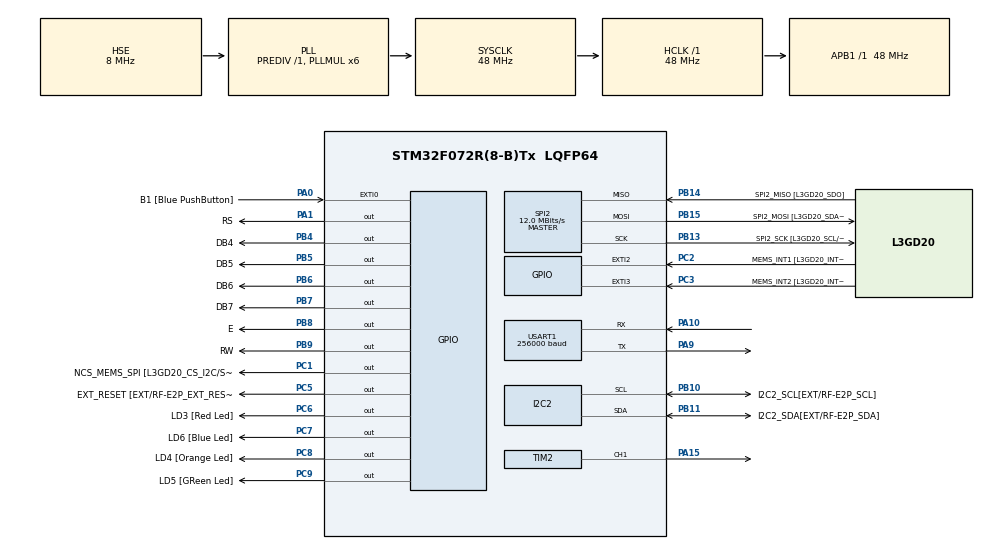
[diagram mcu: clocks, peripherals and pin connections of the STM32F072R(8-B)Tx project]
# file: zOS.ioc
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ADC.ContinuousConvMode=ENABLE
ADC.DMAContinuousRequests=ENABLE
ADC.SamplingTime=ADC_SAMPLETIME_239CYCLES_5
Dma.ADC.2.Direction=DMA_PERIPH_TO_MEMORY
Dma.ADC.2.Instance=DMA1_Channel1
Dma.ADC.2.MemDataAlignment=DMA_MDATAALIGN_HALFWORD
Dma.ADC.2.MemInc=DMA_MINC_ENABLE
Dma.ADC.2.Mode=DMA_CIRCULAR
Dma.ADC.2.PeriphDataAlignment=DMA_PDATAALIGN_HALFWORD
Dma.ADC.2.PeriphInc=DMA_PINC_DISABLE
Dma.ADC.2.Priority=DMA_PRIORITY_LOW
Dma.Request0=USART1_RX
Dma.Request1=USART1_TX
Dma.Request2=ADC
Dma.USART1_RX.0.Direction=DMA_PERIPH_TO_MEMORY
Dma.USART1_RX.0.Instance=DMA1_Channel3
Dma.USART1_RX.0.MemDataAlignment=DMA_MDATAALIGN_BYTE
Dma.USART1_RX.0.MemInc=DMA_MINC_ENABLE
Dma.USART1_RX.0.Mode=DMA_NORMAL
Dma.USART1_RX.0.PeriphDataAlignment=DMA_PDATAALIGN_BYTE
Dma.USART1_RX.0.PeriphInc=DMA_PINC_DISABLE
Dma.USART1_RX.0.Priority=DMA_PRIORITY_LOW
Dma.USART1_TX.1.Direction=DMA_MEMORY_TO_PERIPH
Dma.USART1_TX.1.Instance=DMA1_Channel2
Dma.USART1_TX.1.MemDataAlignment=DMA_MDATAALIGN_BYTE
Dma.USART1_TX.1.MemInc=DMA_MINC_ENABLE
Dma.USART1_TX.1.Mode=DMA_NORMAL
Dma.USART1_TX.1.PeriphDataAlignment=DMA_PDATAALIGN_BYTE
Dma.USART1_TX.1.PeriphInc=DMA_PINC_DISABLE
Dma.USART1_TX.1.Priority=DMA_PRIORITY_LOW
I2C2.Timing=0x20303E5D
IWDG.Prescaler=IWDG_PRESCALER_256
Mcu.Family=STM32F0
Mcu.Name=STM32F072R(8-B)Tx
Mcu.Package=LQFP64
Mcu.UserConstants=SYS_TICK_HZ,1000
NVIC.DMA1_Channel1_IRQn=true\:0\:0\:false\:false\:true\:false
NVIC.DMA1_Channel2_3_IRQn=true\:0\:0\:false\:false\:true\:false
PA0.GPIO_Label=B1 [Blue PushButton]
PA0.Signal=GPXTI0
PA1.GPIO_Label=RS
PA1.Signal=GPIO_Output
PA10.Mode=Asynchronous
PA10.Signal=USART1_RX
PA13.Mode=Serial_Wire
PA13.Signal=SYS_SWDIO
PA14.Mode=Serial_Wire
PA14.Signal=SYS_SWCLK
PA15.Signal=S_TIM2_CH1_ETR
PA9.Mode=Asynchronous
PA9.Signal=USART1_TX
PB10.GPIO_Label=I2C2_SCL[EXT/RF-E2P_SCL]
PB10.Mode=I2C
PB10.Signal=I2C2_SCL
PB11.GPIO_Label=I2C2_SDA[EXT/RF-E2P_SDA]
PB11.Mode=I2C
PB11.Signal=I2C2_SDA
PB13.GPIO_Label=SPI2_SCK [L3GD20_SCL/SPC]
PB13.Mode=Full_Duplex_Master
PB13.Signal=SPI2_SCK
PB14.GPIO_Label=SPI2_MISO [L3GD20_SDO]
PB14.Mode=Full_Duplex_Master
PB14.Signal=SPI2_MISO
PB15.GPIO_Label=SPI2_MOSI [L3GD20_SDA/SDI]
PB15.Mode=Full_Duplex_Master
PB15.Signal=SPI2_MOSI
PB4.GPIO_Label=DB4
PB4.GPIO_ModeDefaultOutputPP=GPIO_MODE_OUTPUT_OD
PB4.Signal=GPIO_Output
PB5.GPIO_Label=DB5
PB5.GPIO_ModeDefaultOutputPP=GPIO_MODE_OUTPUT_OD
PB5.Signal=GPIO_Output
PB6.GPIO_Label=DB6
PB6.GPIO_ModeDefaultOutputPP=GPIO_MODE_OUTPUT_OD
PB6.Signal=GPIO_Output
PB7.GPIO_Label=DB7
PB7.GPIO_ModeDefaultOutputPP=GPIO_MODE_OUTPUT_OD
PB7.Signal=GPIO_Output
PB8.GPIO_Label=E
PB8.Signal=GPIO_Output
PB9.GPIO_Label=RW
PB9.Signal=GPIO_Output
PC1.GPIO_Label=NCS_MEMS_SPI [L3GD20_CS_I2C/SPI]
PC1.Signal=GPIO_Output
PC2.GPIO_Label=MEMS_INT1 [L3GD20_INT1]
PC2.Signal=GPXTI2
PC3.GPIO_Label=MEMS_INT2 [L3GD20_INT2]
PC3.Signal=GPXTI3
PC5.GPIO_Label=EXT_RESET [EXT/RF-E2P_EXT_RESET]
PC5.Signal=GPIO_Output
PC6.GPIO_Label=LD3 [Red Led]
PC6.Signal=GPIO_Output
PC7.GPIO_Label=LD6 [Blue Led]
PC7.Signal=GPIO_Output
PC8.GPIO_Label=LD4 [Orange Led]
PC8.Signal=GPIO_Output
PC9.GPIO_Label=LD5 [GReen Led]
PC9.Signal=GPIO_Output
PF0-OSC_IN.Mode=HSE-External-Clock-Source
PF0-OSC_IN.Signal=RCC_OSC_IN
ProjectManager.HeapSize=0x200
ProjectManager.StackSize=0x400
ProjectManager.TargetToolchain=MDK-ARM V5
RCC.AHBFreq_Value=48000000
RCC.APB1Freq_Value=48000000
RCC.APB1TimFreq_Value=48000000
RCC.HCLKFreq_Value=48000000
RCC.PLLMUL=RCC_PLL_MUL6
RCC.PLLSourceVirtual=RCC_PLLSOURCE_HSE
RCC.SYSCLKFreq_VALUE=48000000
RCC.SYSCLKSource=RCC_SYSCLKSOURCE_PLLCLK
RCC.VDD_VALUE=3
RTC.Format=RTC_FORMAT_BIN
RTC.Month=RTC_MONTH_FEBRUARY
RTC.Year=18
SH.S_TIM2_CH1_ETR.0=TIM2_CH1,PWM Generation1 CH1
SPI2.BaudRatePrescaler=SPI_BAUDRATEPRESCALER_4
SPI2.CalculateBaudRate=12.0 MBits/s
SPI2.Direction=SPI_DIRECTION_2LINES
SPI2.Mode=SPI_MODE_MASTER
SPI2.VirtualType=VM_MASTER
TIM2.Channel-PWM\ Generation1\ CH1=TIM_CHANNEL_1
TIM2.Period=1000
TIM2.Pulse-PWM\ Generation1\ CH1=100
USART1.BaudRate=256000
USART1.VirtualMode-Asynchronous=VM_ASYNC
USART1.WordLength=WORDLENGTH_8B
VP_ADC_TempSens_Input.Mode=IN-TempSens
VP_ADC_Vbat_Input.Mode=IN-Vbat
VP_ADC_Vref_Input.Mode=IN-Vrefint
VP_CRC_VS_CRC.Mode=CRC_Activate
VP_IWDG_VS_IWDG.Mode=IWDG_Activate
VP_RTC_VS_RTC_Activate.Mode=RTC_Enabled
VP_RTC_VS_RTC_Calendar.Mode=RTC_Calendar
VP_TIM2_VS_ClockSourceINT.Mode=Internal
board=zOS

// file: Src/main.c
/**
  ******************************************************************************
  * @file           : main.c
  * @brief          : Main program body
  ******************************************************************************
  ** This notice applies to any and all portions of this file
  * that are not between comment pairs USER CODE BEGIN and
  * USER CODE END. Other portions of this file, whether
  * inserted by the user or by software development tools
  * are owned by their respective copyright owners.
  *
  * COPYRIGHT(c) 2018 STMicroelectronics
  *
  * Redistribution and use in source and binary forms, with or without modification,
  * are permitted provided that the following conditions are met:
  *   1. Redistributions of source code must retain the above copyright notice,
  *      this list of conditions and the following disclaimer.
  *   2. Redistributions in binary form must reproduce the above copyright notice,
  *      this list of conditions and the following disclaimer in the documentation
  *      and/or other materials provided with the distribution.
  *   3. Neither the name of STMicroelectronics nor the names of its contributors
  *      may be used to endorse or promote products derived from this software
  *      without specific prior written permission.
  *
  * THIS SOFTWARE IS PROVIDED BY THE COPYRIGHT HOLDERS AND CONTRIBUTORS "AS IS"
  * AND ANY EXPRESS OR IMPLIED WARRANTIES, INCLUDING, BUT NOT LIMITED TO, THE
  * IMPLIED WARRANTIES OF MERCHANTABILITY AND FITNESS FOR A PARTICULAR PURPOSE ARE
  * DISCLAIMED. IN NO EVENT SHALL THE COPYRIGHT HOLDER OR CONTRIBUTORS BE LIABLE
  * FOR ANY DIRECT, INDIRECT, INCIDENTAL, SPECIAL, EXEMPLARY, OR CONSEQUENTIAL
  * DAMAGES (INCLUDING, BUT NOT LIMITED TO, PROCUREMENT OF SUBSTITUTE GOODS OR
  * SERVICES; LOSS OF USE, DATA, OR PROFITS; OR BUSINESS INTERRUPTION) HOWEVER
  * CAUSED AND ON ANY THEORY OF LIABILITY, WHETHER IN CONTRACT, STRICT LIABILITY,
  * OR TORT (INCLUDING NEGLIGENCE OR OTHERWISE) ARISING IN ANY WAY OUT OF THE USE
  * OF THIS SOFTWARE, EVEN IF ADVISED OF THE POSSIBILITY OF SUCH DAMAGE.
  *
  ******************************************************************************
  */
#include "main.h"
#include "stm32f0xx_hal.h"
#include "adc.h"
#include "crc.h"
#include "dma.h"
#include "i2c.h"
#include "iwdg.h"
#include "rtc.h"
#include "spi.h"
#include "tim.h"
#include "usart.h"
#include "gpio.h"

/* USER CODE BEGIN Includes */
//#include <iostream>
#include <cstdio>
#include <cstring>
#include <cstdint>
#include <cstdlib>
#include <cassert>

//#include <stdio.h>
//#include <string.h>
//#include <stdint.h>
//#include <stdlib.h>
//#include <assert.h>

#include "los_sys.h"
#include "los_tick.h"
#include "los_task.h"
#include "los_config.h"

#include "los_inspect_entry.h"
#include "los_demo_entry.h"

#include "retarget_io_drv.h"

#include "LiquidCrystal.h"

//using namespace std;
/* USER CODE END Includes */

/* USER CODE BEGIN PV */
/* Private variables ---------------------------------------------------------*/

/* USER CODE END PV */

void SystemClock_Config(void);

/* USER CODE BEGIN PFP */
/* Private function prototypes -----------------------------------------------*/

/* USER CODE END PFP */

/* USER CODE BEGIN 0 */
#define	ADC_CHAN_NO	3
volatile uint16_t g_ADCBuf[ADC_CHAN_NO];

//Re-implement any functions that require re-implementation.
//namespace std {
//  struct __FILE
//  {
//    int handle;
//    /* Whatever you require here. If the only file you are using is */
//    /* standard output using printf() for debugging, no file handling */
//    /* is required. */
//  };
//  FILE __stdout;
//  FILE __stdin;
//  FILE __stderr;
//  int fgetc(FILE *f)
//  {
//    /* Your implementation of fgetc(). */
//    return 0;
//  }
//  int fputc(int c, FILE *stream)
//  {
//		stdout_putchar(c);
//		return c;
//  }
//  int ferror(FILE *stream)
//  {
//    fputc('E', stream);
//    fputc('\n', stream);
//
//		return -1;
//  }
//  long int ftell(FILE *stream)
//  {
//    fputc('T', stream);
//    fputc('\n', stream);
//
//		return 0;
//  }
//  int fclose(FILE *f)
//  {
//    /* Your implementation of fclose(). */
//    return 0;
//  }
//  int fseek(FILE *f, long nPos, int nMode)
//  {
//    /* Your implementation of fseek(). */
//    return 0;
//  }
//  int fflush(FILE *f)
//  {
//    /* Your implementation of fflush(). */
//    return 0;
//  }
//}

static uint32_t g_uwboadTaskID;
static  void LOS_BoardExampleTskfunc(void)
{
//	int32_t old_temp_C;
//	int32_t temp_C;
//	int32_t temp_K;
	char testBuf[21];
	LiquidCrystal lcd;
	lcd.Display(0, 0, (uint8_t*)__DATE__);
	lcd.Display(1, 0, (uint8_t*)__TIME__);

	HAL_ADC_Start_DMA(&hadc, (uint32_t*)g_ADCBuf, ADC_CHAN_NO);

	while (1)
	{
		sprintf((char*)testBuf, "%u %u %u",
		//		printf("%u %u %u\n",
				g_ADCBuf[0], g_ADCBuf[1], g_ADCBuf[2]
				);
//		cout<<testBuf<<endl;
		printf(testBuf);
		printf("\n");

		LED_Toggle(0);
		LED_Toggle(1);
		(void)LOS_TaskDelay(2000);

		HAL_IWDG_Refresh(&hiwdg);

		lcd.Display(rand()%LiquidCrystal::LINE_NUM, 0, (uint8_t*)testBuf);

		LED_Toggle(2);
		LED_Toggle(3);
		(void)LOS_TaskDelay(2000);

	}
}

void LOS_BoardExampleEntry(void)
{
    uint32_t uwRet;
    TSK_INIT_PARAM_S stTaskInitParam;

    (void)memset((void *)(&stTaskInitParam), 0, sizeof(TSK_INIT_PARAM_S));
    stTaskInitParam.pfnTaskEntry = (TSK_ENTRY_FUNC)LOS_BoardExampleTskfunc;
    stTaskInitParam.uwStackSize = LOSCFG_BASE_CORE_TSK_IDLE_STACK_SIZE;
    stTaskInitParam.pcName = "BoardDemo";
    stTaskInitParam.usTaskPrio = 10;
    uwRet = LOS_TaskCreate(&g_uwboadTaskID, &stTaskInitParam);

    if (uwRet != OS_OK)
    {
        return;
    }
    return;
}

extern void LOS_Demo_Entry(void);
extern void LOS_Inspect_Entry(void);

/* USER CODE END 0 */

int main(void)
{
  /* USER CODE BEGIN 1 */
  uint32_t uwRet;
  /* USER CODE END 1 */

  /* MCU Configuration----------------------------------------------------------*/

  /* Reset of all peripherals, Initializes the Flash interface and the Systick. */
  HAL_Init();

  /* Configure the system clock */
  SystemClock_Config();

  /* Initialize all configured peripherals */
  MX_GPIO_Init();
  MX_DMA_Init();
  MX_ADC_Init();
  MX_CRC_Init();
  MX_I2C2_Init();
  MX_IWDG_Init();
  MX_RTC_Init();
  MX_TIM2_Init();
  MX_USART1_UART_Init();
  MX_SPI2_Init();
  /* USER CODE BEGIN 2 */
	printf("F072 Disco %s, CM%u @ %u Hz\n %u %u %u\n",
		VER,
		__CORTEX_M,
		SystemCoreClock,
		*(uint16_t*)(0x1FFFF7B8),
		*(uint16_t*)(0x1FFFF7C2),
		*(uint16_t*)(0x1FFFF7BA)
		);
	printf("%08X, %08X\n", SCB->CPUID, (1UL << SCB_AIRCR_ENDIANESS_Pos));

	HAL_TIM_Base_Start(&htim2);
	HAL_TIM_PWM_Start(&htim2, TIM_CHANNEL_1);

  /* USER CODE END 2 */

    /*Init LiteOS kernel */
    uwRet = LOS_KernelInit();
    if (uwRet != OS_OK) {
        return OS_NOK;
    }
    /* Enable LiteOS system tick interrupt */
    uwRet = LOS_EnableTick();
    if (uwRet != OS_OK) {
        return OS_NOK;
    }

    LOS_Demo_Entry();

    LOS_Inspect_Entry();

    LOS_BoardExampleEntry();

    /* Kernel start to run */
    (void)LOS_Start();
  /* Infinite loop */
  /* USER CODE BEGIN WHILE */
  while (1)
  {
			//Should never come here
			assert(true);
//		sprintf((char*)testBuf, "%03X %03X %03X",
////		printf("%u %u %u\n",
//		g_ADCBuf[0], g_ADCBuf[1], g_ADCBuf[2]
//		);
//		cout<<testBuf<<endl;
//
//		HAL_GPIO_TogglePin(LD3_GPIO_Port, LD3_Pin);
//		HAL_GPIO_TogglePin(LD4_GPIO_Port, LD4_Pin);
//		HAL_GPIO_TogglePin(LD5_GPIO_Port, LD5_Pin);
//		HAL_GPIO_TogglePin(LD6_GPIO_Port, LD6_Pin);
//
//		HAL_IWDG_Refresh(&hiwdg);
//
//		HAL_Delay(5000);

//		lcd.Display(rand()%LiquidCrystal::LINE_NUM, 0, testBuf);
  /* USER CODE END WHILE */

  }

}

void SystemClock_Config(void)
{

  RCC_OscInitTypeDef RCC_OscInitStruct;
  RCC_ClkInitTypeDef RCC_ClkInitStruct;
  RCC_PeriphCLKInitTypeDef PeriphClkInit;

    /**Initializes the CPU, AHB and APB busses clocks
    */
  RCC_OscInitStruct.OscillatorType = RCC_OSCILLATORTYPE_HSI14|RCC_OSCILLATORTYPE_LSI
                              |RCC_OSCILLATORTYPE_HSE;
  RCC_OscInitStruct.HSEState = RCC_HSE_BYPASS;
  RCC_OscInitStruct.HSI14State = RCC_HSI14_ON;
  RCC_OscInitStruct.HSI14CalibrationValue = 16;
  RCC_OscInitStruct.LSIState = RCC_LSI_ON;
  RCC_OscInitStruct.PLL.PLLState = RCC_PLL_ON;
  RCC_OscInitStruct.PLL.PLLSource = RCC_PLLSOURCE_HSE;
  RCC_OscInitStruct.PLL.PLLMUL = RCC_PLL_MUL6;
  RCC_OscInitStruct.PLL.PREDIV = RCC_PREDIV_DIV1;
  if (HAL_RCC_OscConfig(&RCC_OscInitStruct) != HAL_OK)
  {
    _Error_Handler(__FILE__, __LINE__);
  }

    /**Initializes the CPU, AHB and APB busses clocks
    */
  RCC_ClkInitStruct.ClockType = RCC_CLOCKTYPE_HCLK|RCC_CLOCKTYPE_SYSCLK
                              |RCC_CLOCKTYPE_PCLK1;
  RCC_ClkInitStruct.SYSCLKSource = RCC_SYSCLKSOURCE_PLLCLK;
  RCC_ClkInitStruct.AHBCLKDivider = RCC_SYSCLK_DIV1;
  RCC_ClkInitStruct.APB1CLKDivider = RCC_HCLK_DIV1;

  if (HAL_RCC_ClockConfig(&RCC_ClkInitStruct, FLASH_LATENCY_1) != HAL_OK)
  {
    _Error_Handler(__FILE__, __LINE__);
  }

  PeriphClkInit.PeriphClockSelection = RCC_PERIPHCLK_USART1|RCC_PERIPHCLK_RTC;
  PeriphClkInit.Usart1ClockSelection = RCC_USART1CLKSOURCE_PCLK1;
  PeriphClkInit.RTCClockSelection = RCC_RTCCLKSOURCE_LSI;
  if (HAL_RCCEx_PeriphCLKConfig(&PeriphClkInit) != HAL_OK)
  {
    _Error_Handler(__FILE__, __LINE__);
  }

    /**Configure the Systick interrupt time
    */
  HAL_SYSTICK_Config(HAL_RCC_GetHCLKFreq()/SYS_TICK_HZ);

    /**Configure the Systick
    */
  HAL_SYSTICK_CLKSourceConfig(SYSTICK_CLKSOURCE_HCLK);

  /* SysTick_IRQn interrupt configuration */
  HAL_NVIC_SetPriority(SysTick_IRQn, 0, 0);
}

void _Error_Handler(char *file, int line)
{
  while(1)
  {
  }
}

/************************ (C) COPYRIGHT STMicroelectronics *****END OF FILE****/
